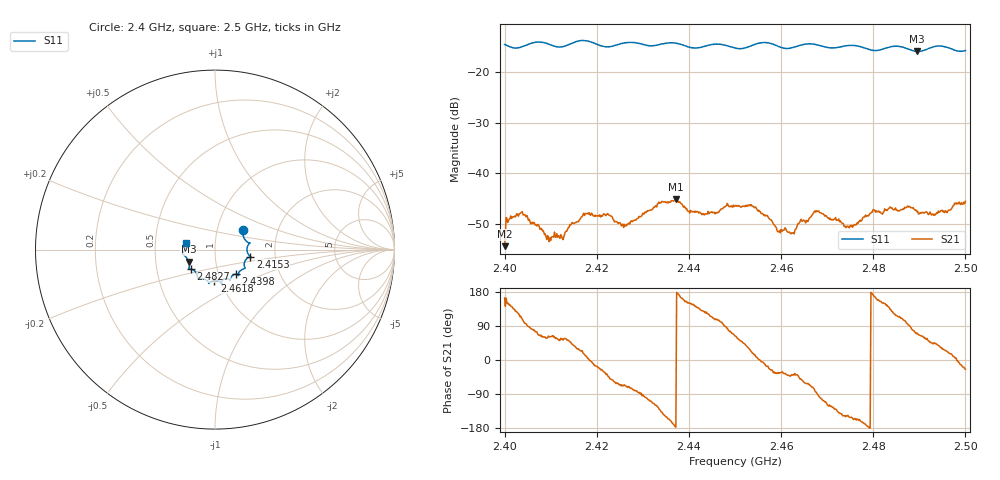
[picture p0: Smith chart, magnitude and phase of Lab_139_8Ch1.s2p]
# Hz S RI R 50
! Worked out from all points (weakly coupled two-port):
!   601 points, 2.4 GHz to 2.5 GHz, reference 50 ohm
!   highest |S21| = -45.08 dB at 2.4372 GHz (marker M1); lowest = -54.4 dB at 2.4 GHz (marker M2)
!   lowest |S11| = -15.9 dB at 2.4895 GHz (marker M3), VSWR 1.38, Z = 36.9 - j5.04 ohm
!   |S11| at or under -10 dB: start of sweep to end of sweep
!   S12 and S22 are empty: the file has one direction only
!   S11 on the Smith chart (normalised r, x): 2.4 GHz: 1.33, +0.30; 2.4153 GHz: 1.48, -0.12; 2.4398 GHz: 1.21, -0.34; 2.4618 GHz: 0.94, -0.33; 2.4827 GHz: 0.75, -0.17; 2.5 GHz: 0.72, +0.06
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2.4e9  0.1555 0.107  -0.00182 0.000534  0 0  0 0
2.400833e9  0.1554 0.0939  -0.00293 0.00173  0 0  0 0
2.403333e9  0.1677 0.0543  -0.00164 0.00363  0 0  0 0
2.4095e9  0.1883 0.031  0.00105 0.00209  0 0  0 0
2.4125e9  0.1786 -0.00749  0.00128 0.00188  0 0  0 0
2.415333e9  0.1962 -0.0391  0.00266 0.00188  0 0  0 0
2.416667e9  0.2019 -0.0432  0.00338 0.00149  0 0  0 0
2.422667e9  0.1639 -0.0717  0.00273 -0.00271  0 0  0 0
2.425833e9  0.1671 -0.1004  0.0011 -0.0027  0 0  0 0
2.433333e9  0.1302 -0.1342  -0.00288 -0.00412  0 0  0 0
2.437167e9  0.1314 -0.1434  -0.00557 -0.000266  0 0  0 0
2.439833e9  0.1154 -0.1364  -0.0037 0.00201  0 0  0 0
2.45e9  0.0643 -0.1617  0.00212 0.00424  0 0  0 0
2.454e9  0.0355 -0.1835  0.00449 0.00135  0 0  0 0
2.459333e9  0.0282 -0.179  0.00221 -0.00143  0 0  0 0
2.461833e9  -0.00321 -0.1728  0.00197 -0.00172  0 0  0 0
2.466667e9  -0.0349 -0.1879  0.00122 -0.00363  0 0  0 0
2.474333e9  -0.0903 -0.1601  -0.00252 -0.00162  0 0  0 0
2.482667e9  -0.1346 -0.109  -0.00365 0.0023  0 0  0 0
2.483333e9  -0.1398 -0.1086  -0.00342 0.00287  0 0  0 0
2.4895e9  -0.1465 -0.0665  0.00136 0.00394  0 0  0 0
2.5e9  -0.1597 0.0392  0.00481 -0.00217  0 0  0 0
